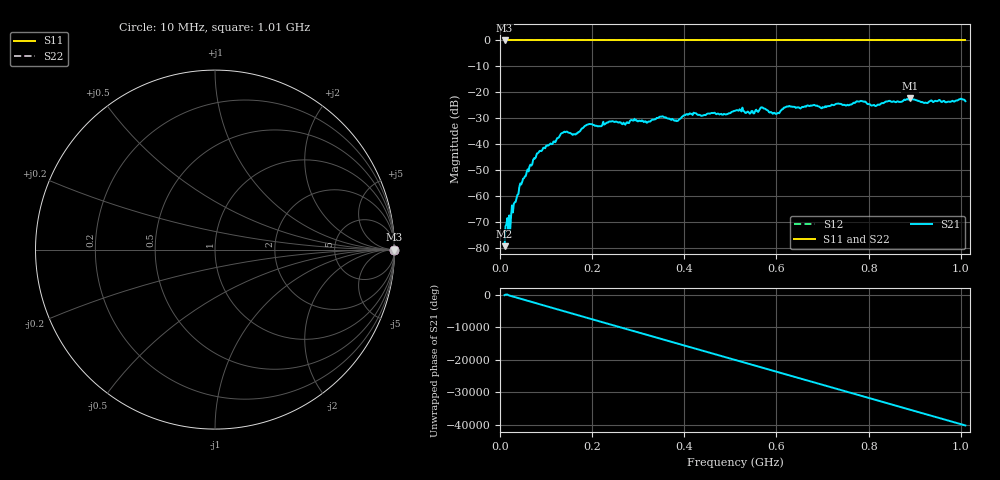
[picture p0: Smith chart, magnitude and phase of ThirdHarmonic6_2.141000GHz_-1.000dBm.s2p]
! 8/17/2025 1:34:40 AM
! C:\ANRITSUVNA\TEMP\TEMP.S2P
! CHANNEL.1
! TR.MEASUREMENT
! RAW.DATA
! RF.CORRECTION.OFF
! AVERAGING.OFF
! IF.BANDWIDTH: 5KHZ
! SWEEPTYPE:  FREQ.SWEEP(Linear)
! Reference Plane Port Info
! PORT:  PORT1  PORT2
! DISTANCE:  0  m  0  m
! TIME:  0  s  0  s
! PHASE.OFFSET:  0  deg.  0  deg.
! LOSS:  0  dB  0  dB
! REF.LOSS:  0  dB  0  dB
! REF.FREQ:  0  Hz  0  Hz
! Power Info
! POWER:  -20  dBm  -20  dBm
! EFF.POWER:  -20  dBm  -20  dBm
! SOURCE.ATTEN:  0  dB  0  dB
! TEST.ATTEN:  0  dB  0  dB
# GHZ S RI R 50.0
! FREQ.GHZ  S11RE  S11IM  S21RE  S21IM  S12RE  S12IM  S22RE  S22IM
!; PortSelection: Port_12
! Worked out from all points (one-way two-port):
!   501 points, 10 MHz to 1.01 GHz, reference 50 ohm
!   highest |S21| = -22.32 dB at 890 MHz (marker M1); lowest = -79.3 dB at 10 MHz (marker M2)
!   lowest |S11| = 0.0 dB at 10 MHz (marker M3)
!   |S11| at or under -10 dB: nowhere
!   |S22| runs from 0.0 to 0.0 dB; largest |S21 - S12| = 1.1
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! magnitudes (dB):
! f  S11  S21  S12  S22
! 10 MHz  0.0  -79.3  0.0  0.0
! 16 MHz  0.0  -68.5  0.0  0.0
! 22 MHz  0.0  -73.2  0.0  0.0
! 46 MHz  0.0  -55.5  0.0  0.0
! 82 MHz  0.0  -43.5  0.0  0.0
! 136 MHz  0.0  -35.6  0.0  0.0
! 162 MHz  0.0  -36.2  0.0  0.0
! 178 MHz  0.0  -33.9  0.0  0.0
! 194 MHz  0.0  -32.2  0.0  0.0
! 344 MHz  0.0  -29.8  0.0  0.0
! 382 MHz  0.0  -30.8  0.0  0.0
! 408 MHz  0.0  -28.7  0.0  0.0
! 510 MHz  0.0  -27.1  0.0  0.0
! 570 MHz  0.0  -25.9  0.0  0.0
! 602 MHz  0.0  -28.0  0.0  0.0
! 624 MHz  0.0  -25.5  0.0  0.0
! 678 MHz  0.0  -25.1  0.0  0.0
! 784 MHz  0.0  -23.3  0.0  0.0
! 814 MHz  0.0  -25.2  0.0  0.0
! 844 MHz  0.0  -23.3  0.0  0.0
! 890 MHz  0.0  -22.3  0.0  0.0
! 1.01 GHz  0.0  -23.4  0.0  0.0
